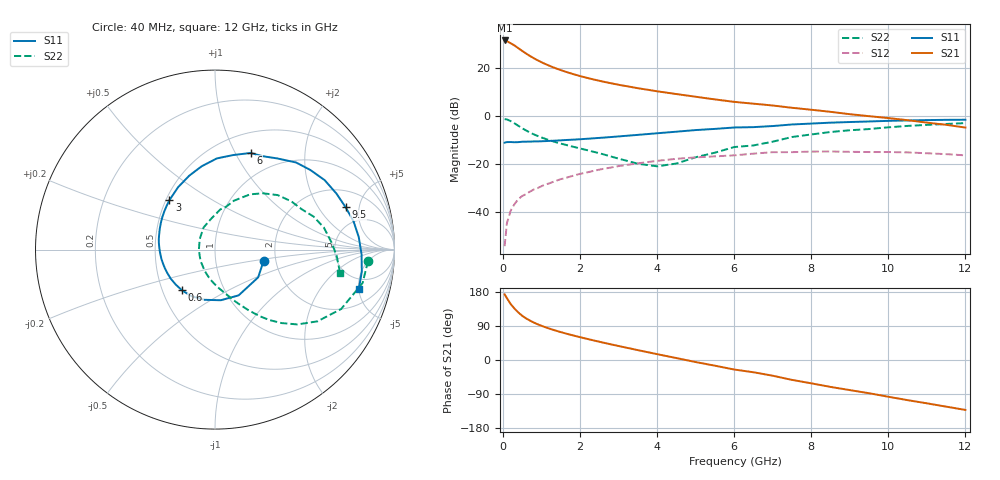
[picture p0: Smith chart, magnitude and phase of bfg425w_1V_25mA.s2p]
! Filename: 125bfg425.001
! BFG425W Field C1
! V1=8.814E-001V,V2=1.000E+000V, I1=3.896E-004A, I2=2.496E-002A
# GHz  S  MA  R 50
!  S11  S21  S12  S22
!Freq(GHz)  Mag  Ang  Mag  Ang  Mag  Ang  Mag  Ang
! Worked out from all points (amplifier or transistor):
!   44 points, 40 MHz to 12 GHz, reference 50 ohm
!   highest |S21| = 31.2 dB at 40 MHz (marker M1)
!   |S21| within 3 dB of that: start of sweep to 378.4 MHz
!   unconditionally stable (mu >= 1): start of sweep to 67.03 MHz; 984.7 MHz to end of sweep
!   at 700 MHz: K = 0.88, MSG = 28.1 dB, |S12| = -31.4 dB
!   at 2.4 GHz: K = 1.20, MAG = 16.1 dB, |S12| = -22.6 dB
!   at 12 GHz: K = 1.38, MAG = 2.1 dB, |S12| = -16.4 dB
!   S11 on the Smith chart (normalised r, x): 40 MHz: 1.72, -0.24; 600 MHz: 0.63, -0.31; 3 GHz: 0.52, +0.34; 6 GHz: 0.72, +1.16; 9.5 GHz: 3.19, +3.63; 12 GHz: 3.54, -5.02
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0.04  0.278 -13.1  36.44 173.2  0.002 75.1  0.855 -4.3
0.1  0.286 -32.7  35.28 163.1  0.006 79.8  0.843 -12.8
0.2  0.287 -62.7  31.78 147.3  0.011 72.7  0.777 -25.2
0.3  0.284 -83.5  28.57 135.2  0.015 68.3  0.697 -35.0
0.4  0.286 -102.0  25.08 125.0  0.019 64.4  0.62 -42.3
0.5  0.291 -117.3  22.03 116.5  0.022 62.4  0.552 -47.8
0.6  0.292 -128.9  19.46 109.7  0.024 61.0  0.497 -52.2
0.7  0.293 -138.3  17.33 103.9  0.027 59.8  0.451 -55.8
0.8  0.295 -146.6  15.57 98.7  0.03 59.2  0.413 -58.7
0.9  0.296 -153.6  14.12 94.2  0.032 58.5  0.383 -61.3
1.1  0.3 -165.2  11.82 86.4  0.038 57.1  0.334 -66.0
1.3  0.305 -174.5  10.13 79.6  0.043 55.5  0.296 -70.3
1.6  0.315 173.3  8.313 70.7  0.051 52.8  0.254 -76.4
2.2  0.336 154.0  6.06 55.3  0.068 46.1  0.193 -90.5
3  0.375 132.5  4.404 36.9  0.091 35.3  0.13 -116.8
4.5  0.47 99.1  2.827 5.1  0.129 12.0  0.103 145.9
6  0.574 69.7  1.949 -25.1  0.152 -13.0  0.226 82.4
6.5  0.584 63.0  1.787 -32.3  0.165 -17.3  0.244 76.0
8.5  0.723 32.4  1.211 -71.0  0.183 -53.3  0.463 41.0
9.5  0.765 18.0  0.985 -87.7  0.178 -69.1  0.533 24.9
10.5  0.804 4.9  0.813 -105.9  0.175 -86.6  0.619 11.4
12  0.831 -15.3  0.573 -131.8  0.152 -114.2  0.708 -10.4
